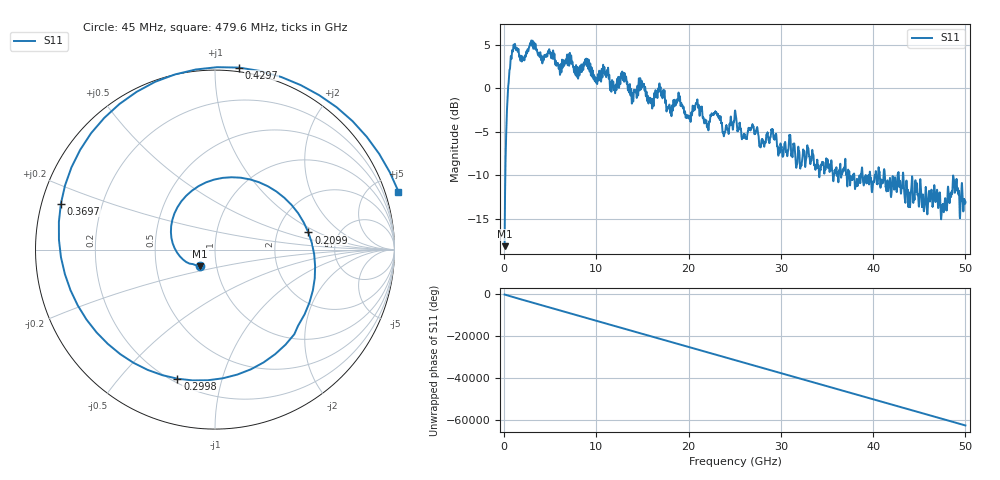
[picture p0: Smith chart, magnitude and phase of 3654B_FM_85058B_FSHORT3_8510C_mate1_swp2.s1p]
!Created with skrf (http://scikit-rf.org).
# Hz S RI R 50.0
!freq ReS11 ImS11
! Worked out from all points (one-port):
!   10001 points, 45 MHz to 50 GHz, reference 50 ohm
!   lowest |S11| = -18.1 dB at 45 MHz (marker M1), VSWR 1.28, Z = 41.8 - j7.88 ohm
!   |S11| at or under -10 dB: 37.96 GHz to 38.66 GHz (707.4 MHz wide, 1.85 % of centre); 41.27 GHz to 42.65 GHz (1.38 GHz wide, 3.29 % of centre); 43.27 GHz to end of sweep (the widest 3 of 21)
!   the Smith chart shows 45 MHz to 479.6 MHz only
!   S11 on the Smith chart (normalised r, x): 45 MHz: 0.84, -0.16; 209.9 MHz: 3.01, +0.80; 299.8 MHz: 0.22, -0.73; 369.7 MHz: 0.06, +0.15; 429.7 MHz: -0.03, +1.14; 479.6 MHz: -1.42, +6.15
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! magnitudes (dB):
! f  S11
! 45 MHz  -18.1
! 209.9 MHz  -5.5
! 299.8 MHz  -2.5
! 369.7 MHz  -1.0
! 429.7 MHz  0.2
! 479.6 MHz  0.6
! 1.169 GHz  5.1
! 6.289 GHz  3.2
! 12.53 GHz  1.2
! 15.98 GHz  -1.3
! 16.89 GHz  -0.1
! 17.93 GHz  -2.0
! 18.78 GHz  -1.3
! 20 GHz  -3.2
! 20.91 GHz  -1.5
! 21.94 GHz  -3.9
! 22.97 GHz  -2.9
! 23.86 GHz  -5.3
! 25.02 GHz  -2.6
! 25.97 GHz  -5.3
! 26.82 GHz  -4.5
! 31.27 GHz  -7.8
! 37.51 GHz  -11.0
! 43.76 GHz  -12.1
! 46.76 GHz  -13.1
! 47.54 GHz  -13.4
! 48.85 GHz  -12.0
! 50 GHz  -13.1
